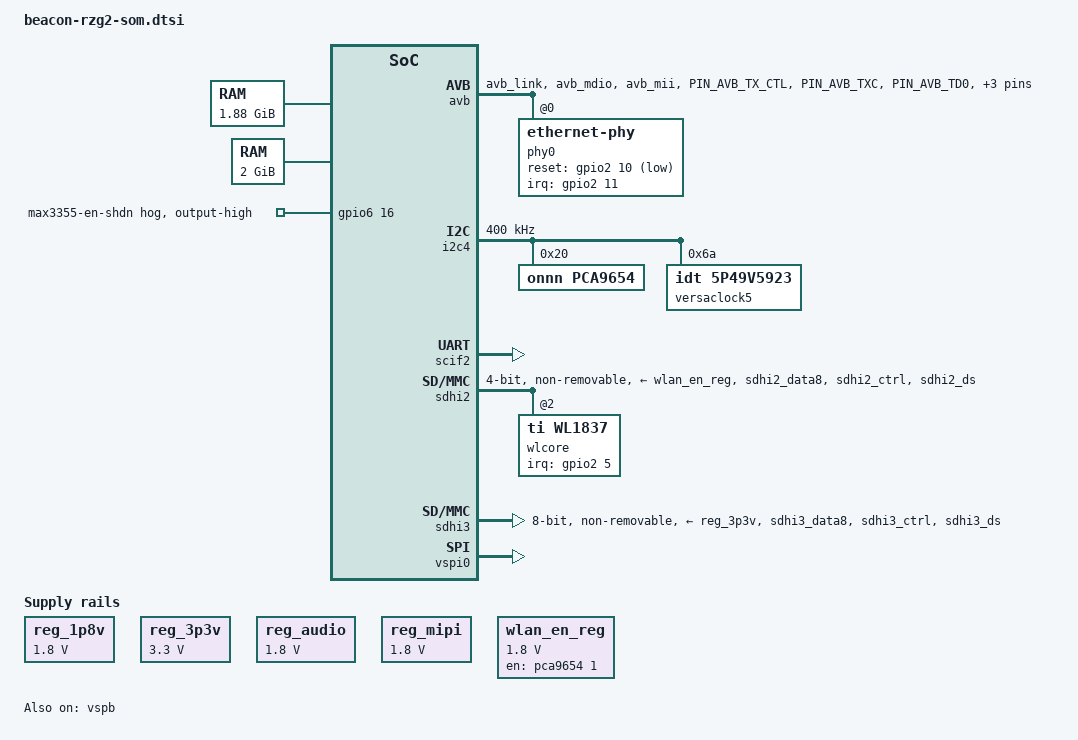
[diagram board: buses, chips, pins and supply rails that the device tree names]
// SPDX-License-Identifier: GPL-2.0
/*
 * Device Tree Source for SOM of LogicPD RZ/G2 platform.
 *
 * Copyright (C) 2019 Logic PD.
 */

#include <dt-bindings/gpio/gpio.h>

/ {
	memory@48000000 {
		device_type = "memory";
		/* first 128MB is reserved for secure area. */
		reg = <0x0 0x48000000 0x0 0x78000000>;
	};

	memory@600000000 {
		device_type = "memory";
		reg = <0x6 0x00000000 0x0 0x80000000>;
	};

	reserved-memory {
		#address-cells = <2>;
		#size-cells = <2>;
		ranges;

		/* global autoconfigured region for contiguous allocations */
		linux,cma@58000000 {
			compatible = "shared-dma-pool";
			reusable;
			reg = <0x00000000 0x58000000 0x0 0x18000000>;
			linux,cma-default;
		};

		/* device specific region for contiguous allocations */
		mmp_reserved: linux,multimedia@70000000 {
			compatible = "shared-dma-pool";
			reusable;
			reg = <0x00000000 0x70000000 0x0 0x10000000>;
		};
	};

	mmngr {
		compatible = "renesas,mmngr";
		memory-region = <&mmp_reserved>;
	};

	mmngrbuf {
		compatible = "renesas,mmngrbuf";
	};

	/* External DU dot clocks */
	x302_clk: x302-clock {
		compatible = "fixed-clock";
		#clock-cells = <0>;
		clock-frequency = <33000000>;
	};

	x304_clk: x304-clock {
		compatible = "fixed-clock";
		#clock-cells = <0>;
		clock-frequency = <25000000>;
	};

	reg_1p8v: regulator0 {
		compatible = "regulator-fixed";
		regulator-name = "fixed-1.8V";
		regulator-min-microvolt = <1800000>;
		regulator-max-microvolt = <1800000>;
		regulator-boot-on;
		regulator-always-on;
	};

	reg_3p3v: regulator1 {
		compatible = "regulator-fixed";
		regulator-name = "fixed-3.3V";
		regulator-min-microvolt = <3300000>;
		regulator-max-microvolt = <3300000>;
		regulator-boot-on;
		regulator-always-on;
	};

	reg_audio: regulator_audio {
		compatible = "regulator-fixed";
		regulator-name = "fixed-1.8V";
		regulator-min-microvolt = <1800000>;
		regulator-max-microvolt = <1800000>;
		regulator-boot-on;
		regulator-always-on;
	};

	reg_mipi: regulator_camera {
		compatible = "regulator-fixed";
		regulator-name = "fixed-1.8V";
		regulator-min-microvolt = <1800000>;
		regulator-max-microvolt = <1800000>;
		regulator-boot-on;
		regulator-always-on;
	};

	wlan_en_reg: fixedregulator {
		compatible = "regulator-fixed";
		regulator-name = "wlan-en-regulator";
		regulator-min-microvolt = <1800000>;
		regulator-max-microvolt = <1800000>;
		startup-delay-us = <70000>;

		/* WLAN_EN GPIO for this board - Bank2, pin25 */
		gpio = <&pca9654 1 GPIO_ACTIVE_HIGH>;
		enable-active-high;
	};

	vspm_if {
		compatible = "renesas,vspm_if";
	};
};

&avb {
	pinctrl-0 = <&avb_pins>;
	pinctrl-names = "default";
	phy-handle = <&phy0>;
	phy-mode = "rgmii-txid";
	status = "okay";

	phy0: ethernet-phy@0 {
		reg = <0>;
		interrupt-parent = <&gpio2>;
		interrupts = <11 IRQ_TYPE_LEVEL_LOW>;
		reset-gpios = <&gpio2 10 GPIO_ACTIVE_LOW>;
	};
};

&extal_clk {
	clock-frequency = <16666666>;
};

&extalr_clk {
	clock-frequency = <32768>;
};

&gpio6 {
	max3355-en-shdn {
		gpio-hog;
		gpios = <16 GPIO_ACTIVE_HIGH>;
		output-high;
		line-name = "max3355-en-shdn";
	};
};

&i2c4 {
	status = "okay";
	clock-frequency = <400000>;

	pca9654: gpio@20 {
		compatible = "onnn,pca9654";
		reg = <0x20>;
		gpio-controller;
		#gpio-cells = <2>;
	};

	versaclock5: clock-generator@6a {
		compatible = "idt,5p49v5923";
		reg = <0x6a>;
		#clock-cells = <1>;
		clocks = <&x304_clk>;
		clock-names = "xin";
	};
};

&scif2 {
	status = "okay";
};

&sdhi2 {
	/* used for on-board WIFI */
	status = "okay";
	pinctrl-0 = <&sdhi2_pins_uhs>;
	pinctrl-names = "default";

	vmmc-supply = <&wlan_en_reg>;
	bus-width = <4>;
	non-removable;
	cap-power-off-card;
	keep-power-in-suspend;

	#address-cells = <1>;
	#size-cells = <0>;
	wlcore: wlcore@2 {
		compatible = "ti,wl1837";
		reg = <2>;
		interrupt-parent = <&gpio2>;
		interrupts = <5 IRQ_TYPE_EDGE_RISING>;
	};
};

&sdhi3 {
	pinctrl-0 = <&sdhi3_pins>;
	pinctrl-1 = <&sdhi3_pins_uhs>;
	pinctrl-names = "default", "state_uhs";

	vmmc-supply = <&reg_3p3v>;
	vqmmc-supply = <&reg_1p8v>;
	bus-width = <8>;
	mmc-hs200-1_8v;
	non-removable;
	fixed-emmc-driver-type = <1>;
	status = "okay";
};

&usb_extal_clk {
	clock-frequency = <50000000>;
};

&usb3s0_clk {
	clock-frequency = <100000000>;
};

&vspb {
	status = "okay";
};

&vspi0 {
	status = "okay";
};

&pfc {
	pinctrl-0 = <&scif_clk_pins>;
	pinctrl-names = "default";

	avb_pins: avb {
		mux {
			groups = "avb_link", "avb_mdio", "avb_mii";
			function = "avb";
		};

		pins_mdio {
			groups = "avb_mdio";
			drive-strength = <24>;
		};

		pins_mii_tx {
			pins = "PIN_AVB_TX_CTL", "PIN_AVB_TXC", "PIN_AVB_TD0",
			       "PIN_AVB_TD1", "PIN_AVB_TD2", "PIN_AVB_TD3";
			drive-strength = <12>;
		};
	};

	scif_clk_pins: scif_clk {
		groups = "scif_clk_a";
		function = "scif_clk";
	};

	sdhi2_pins: sd2 {
		groups = "sdhi2_data8", "sdhi2_ctrl", "sdhi2_ds";
		function = "sdhi2";
		power-source = <3300>;
	};

	sdhi2_pins_uhs: sd2_uhs {
		groups = "sdhi2_data8", "sdhi2_ctrl", "sdhi2_ds";
		function = "sdhi2";
		power-source = <1800>;
	};

	sdhi3_pins: sd3 {
		groups = "sdhi3_data8", "sdhi3_ctrl", "sdhi3_ds";
		function = "sdhi3";
		power-source = <3300>;
	};

	sdhi3_pins_uhs: sd3_uhs {
		groups = "sdhi3_data8", "sdhi3_ctrl", "sdhi3_ds";
		function = "sdhi3";
		power-source = <1800>;
	};
};
